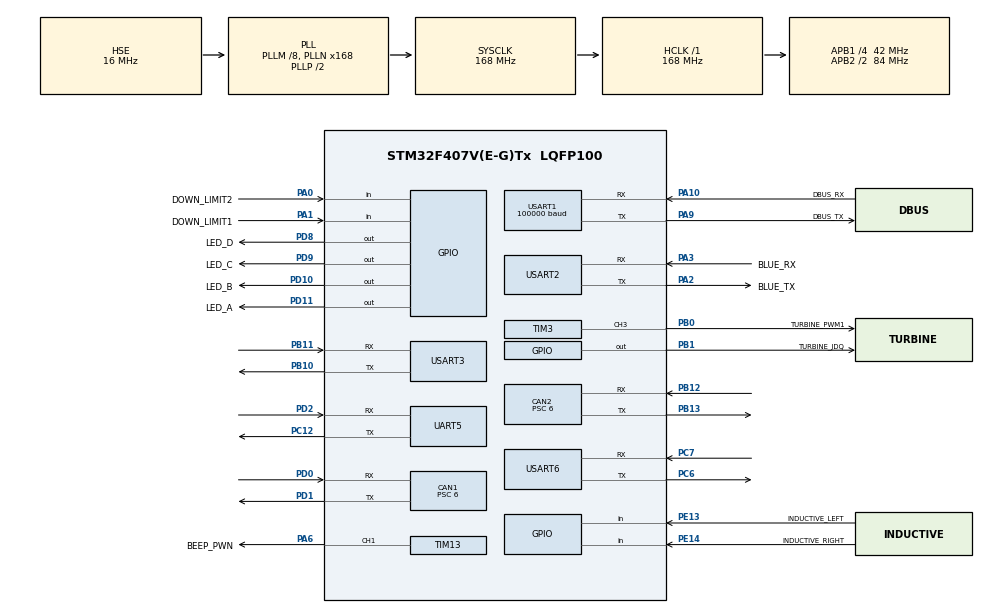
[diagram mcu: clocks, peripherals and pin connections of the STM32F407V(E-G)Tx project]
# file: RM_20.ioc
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CAN1.ABOM=ENABLE
CAN1.BS1=CAN_BS1_3TQ
CAN1.BS2=CAN_BS2_3TQ
CAN1.CalculateTimeQuantum=142.85714285714286
CAN1.Prescaler=6
CAN2.ABOM=ENABLE
CAN2.BS1=CAN_BS1_3TQ
CAN2.BS2=CAN_BS2_3TQ
CAN2.CalculateTimeQuantum=142.85714285714286
CAN2.Prescaler=6
Dma.Request0=USART1_RX
Dma.Request1=USART6_RX
Dma.Request2=USART2_RX
Dma.Request3=UART5_TX
Dma.Request4=UART5_RX
Dma.Request5=USART3_TX
Dma.Request6=USART3_RX
Dma.Request7=USART6_TX
Dma.UART5_RX.4.Direction=DMA_PERIPH_TO_MEMORY
Dma.UART5_RX.4.FIFOMode=DMA_FIFOMODE_DISABLE
Dma.UART5_RX.4.Instance=DMA1_Stream0
Dma.UART5_RX.4.MemDataAlignment=DMA_MDATAALIGN_BYTE
Dma.UART5_RX.4.MemInc=DMA_MINC_ENABLE
Dma.UART5_RX.4.Mode=DMA_NORMAL
Dma.UART5_RX.4.PeriphDataAlignment=DMA_PDATAALIGN_BYTE
Dma.UART5_RX.4.PeriphInc=DMA_PINC_DISABLE
Dma.UART5_RX.4.Priority=DMA_PRIORITY_LOW
Dma.UART5_TX.3.Direction=DMA_MEMORY_TO_PERIPH
Dma.UART5_TX.3.FIFOMode=DMA_FIFOMODE_DISABLE
Dma.UART5_TX.3.Instance=DMA1_Stream7
Dma.UART5_TX.3.MemDataAlignment=DMA_MDATAALIGN_BYTE
Dma.UART5_TX.3.MemInc=DMA_MINC_ENABLE
Dma.UART5_TX.3.Mode=DMA_NORMAL
Dma.UART5_TX.3.PeriphDataAlignment=DMA_PDATAALIGN_BYTE
Dma.UART5_TX.3.PeriphInc=DMA_PINC_DISABLE
Dma.UART5_TX.3.Priority=DMA_PRIORITY_LOW
Dma.USART1_RX.0.Direction=DMA_PERIPH_TO_MEMORY
Dma.USART1_RX.0.FIFOMode=DMA_FIFOMODE_DISABLE
Dma.USART1_RX.0.Instance=DMA2_Stream2
Dma.USART1_RX.0.MemDataAlignment=DMA_MDATAALIGN_BYTE
Dma.USART1_RX.0.MemInc=DMA_MINC_ENABLE
Dma.USART1_RX.0.Mode=DMA_NORMAL
Dma.USART1_RX.0.PeriphDataAlignment=DMA_PDATAALIGN_BYTE
Dma.USART1_RX.0.PeriphInc=DMA_PINC_DISABLE
Dma.USART1_RX.0.Priority=DMA_PRIORITY_LOW
Dma.USART2_RX.2.Direction=DMA_PERIPH_TO_MEMORY
Dma.USART2_RX.2.FIFOMode=DMA_FIFOMODE_DISABLE
Dma.USART2_RX.2.Instance=DMA1_Stream5
Dma.USART2_RX.2.MemDataAlignment=DMA_MDATAALIGN_BYTE
Dma.USART2_RX.2.MemInc=DMA_MINC_ENABLE
Dma.USART2_RX.2.Mode=DMA_NORMAL
Dma.USART2_RX.2.PeriphDataAlignment=DMA_PDATAALIGN_BYTE
Dma.USART2_RX.2.PeriphInc=DMA_PINC_DISABLE
Dma.USART2_RX.2.Priority=DMA_PRIORITY_LOW
Dma.USART3_RX.6.Direction=DMA_PERIPH_TO_MEMORY
Dma.USART3_RX.6.FIFOMode=DMA_FIFOMODE_DISABLE
Dma.USART3_RX.6.Instance=DMA1_Stream1
Dma.USART3_RX.6.MemDataAlignment=DMA_MDATAALIGN_BYTE
Dma.USART3_RX.6.MemInc=DMA_MINC_ENABLE
Dma.USART3_RX.6.Mode=DMA_NORMAL
Dma.USART3_RX.6.PeriphDataAlignment=DMA_PDATAALIGN_BYTE
Dma.USART3_RX.6.PeriphInc=DMA_PINC_DISABLE
Dma.USART3_RX.6.Priority=DMA_PRIORITY_LOW
Dma.USART3_TX.5.Direction=DMA_MEMORY_TO_PERIPH
Dma.USART3_TX.5.FIFOMode=DMA_FIFOMODE_DISABLE
Dma.USART3_TX.5.Instance=DMA1_Stream3
Dma.USART3_TX.5.MemDataAlignment=DMA_MDATAALIGN_BYTE
Dma.USART3_TX.5.MemInc=DMA_MINC_ENABLE
Dma.USART3_TX.5.Mode=DMA_NORMAL
Dma.USART3_TX.5.PeriphDataAlignment=DMA_PDATAALIGN_BYTE
Dma.USART3_TX.5.PeriphInc=DMA_PINC_DISABLE
Dma.USART3_TX.5.Priority=DMA_PRIORITY_LOW
Dma.USART6_RX.1.Direction=DMA_PERIPH_TO_MEMORY
Dma.USART6_RX.1.FIFOMode=DMA_FIFOMODE_DISABLE
Dma.USART6_RX.1.Instance=DMA2_Stream1
Dma.USART6_RX.1.MemDataAlignment=DMA_MDATAALIGN_BYTE
Dma.USART6_RX.1.MemInc=DMA_MINC_ENABLE
Dma.USART6_RX.1.Mode=DMA_NORMAL
Dma.USART6_RX.1.PeriphDataAlignment=DMA_PDATAALIGN_BYTE
Dma.USART6_RX.1.PeriphInc=DMA_PINC_DISABLE
Dma.USART6_RX.1.Priority=DMA_PRIORITY_LOW
Dma.USART6_TX.7.Direction=DMA_MEMORY_TO_PERIPH
Dma.USART6_TX.7.FIFOMode=DMA_FIFOMODE_DISABLE
Dma.USART6_TX.7.Instance=DMA2_Stream6
Dma.USART6_TX.7.MemDataAlignment=DMA_MDATAALIGN_BYTE
Dma.USART6_TX.7.MemInc=DMA_MINC_ENABLE
Dma.USART6_TX.7.Mode=DMA_NORMAL
Dma.USART6_TX.7.PeriphDataAlignment=DMA_PDATAALIGN_BYTE
Dma.USART6_TX.7.PeriphInc=DMA_PINC_DISABLE
Dma.USART6_TX.7.Priority=DMA_PRIORITY_LOW
FREERTOS.INCLUDE_vTaskDelayUntil=1
FREERTOS.Tasks01=defaultTask,0,128,StartDefaultTask,Default,NULL
FREERTOS.configUSE_TIMERS=1
Mcu.Family=STM32F4
Mcu.Name=STM32F407V(E-G)Tx
Mcu.Package=LQFP100
NVIC.CAN1_RX0_IRQn=true\:5\:0\:false\:false\:true\:true\:true\:true
NVIC.CAN1_TX_IRQn=true\:5\:0\:false\:false\:true\:true\:true\:true
NVIC.CAN2_RX0_IRQn=true\:5\:0\:false\:false\:true\:true\:true\:true
NVIC.CAN2_TX_IRQn=true\:5\:0\:false\:false\:true\:true\:true\:true
NVIC.DMA1_Stream0_IRQn=true\:5\:0\:false\:false\:true\:true\:false\:true
NVIC.DMA1_Stream1_IRQn=true\:5\:0\:false\:false\:true\:true\:false\:true
NVIC.DMA1_Stream3_IRQn=true\:5\:0\:false\:false\:true\:true\:false\:true
NVIC.DMA1_Stream5_IRQn=true\:5\:0\:false\:false\:true\:true\:false\:true
NVIC.DMA1_Stream7_IRQn=true\:5\:0\:false\:false\:true\:true\:false\:true
NVIC.DMA2_Stream1_IRQn=true\:5\:0\:false\:false\:true\:true\:false\:true
NVIC.DMA2_Stream2_IRQn=true\:5\:0\:false\:false\:true\:true\:false\:true
NVIC.DMA2_Stream6_IRQn=true\:5\:0\:false\:false\:true\:true\:false\:true
NVIC.PriorityGroup=NVIC_PRIORITYGROUP_4
NVIC.TIM1_UP_TIM10_IRQn=true\:0\:0\:false\:false\:true\:false\:false\:true
NVIC.TimeBase=TIM1_UP_TIM10_IRQn
NVIC.TimeBaseIP=TIM10
NVIC.UART5_IRQn=true\:5\:0\:false\:false\:true\:true\:true\:true
NVIC.USART1_IRQn=true\:5\:0\:false\:false\:true\:true\:true\:true
NVIC.USART2_IRQn=true\:5\:0\:false\:false\:true\:true\:true\:true
NVIC.USART3_IRQn=true\:5\:0\:false\:false\:true\:true\:true\:true
NVIC.USART6_IRQn=true\:5\:0\:false\:false\:true\:true\:true\:true
PA0-WKUP.GPIO_Label=DOWN_LIMIT2
PA0-WKUP.Signal=GPIO_Input
PA1.GPIO_Label=DOWN_LIMIT1
PA1.Signal=GPIO_Input
PA10.GPIO_Label=DBUS_RX
PA10.Mode=Asynchronous
PA10.Signal=USART1_RX
PA13.Mode=Serial_Wire
PA13.Signal=SYS_JTMS-SWDIO
PA14.Mode=Serial_Wire
PA14.Signal=SYS_JTCK-SWCLK
PA2.GPIO_Label=BLUE_TX
PA2.Mode=Asynchronous
PA2.Signal=USART2_TX
PA3.GPIO_Label=BLUE_RX
PA3.Mode=Asynchronous
PA3.Signal=USART2_RX
PA6.GPIO_Label=BEEP_PWN
PA6.Signal=S_TIM13_CH1
PA9.GPIO_Label=DBUS_TX
PA9.Mode=Asynchronous
PA9.Signal=USART1_TX
PB0.GPIO_Label=TURBINE_PWM1
PB0.Signal=S_TIM3_CH3
PB1.GPIO_Label=TURBINE_JDQ
PB1.Signal=GPIO_Output
PB10.Mode=Asynchronous
PB10.Signal=USART3_TX
PB11.Mode=Asynchronous
PB11.Signal=USART3_RX
PB12.Mode=Slave
PB12.Signal=CAN2_RX
PB13.Mode=Slave
PB13.Signal=CAN2_TX
PC12.Mode=Asynchronous
PC12.Signal=UART5_TX
PC6.Mode=Asynchronous
PC6.Signal=USART6_TX
PC7.Mode=Asynchronous
PC7.Signal=USART6_RX
PD0.Mode=Master
PD0.Signal=CAN1_RX
PD1.Mode=Master
PD1.Signal=CAN1_TX
PD10.GPIO_Label=LED_B
PD10.Signal=GPIO_Output
PD11.GPIO_Label=LED_A
PD11.Signal=GPIO_Output
PD2.Mode=Asynchronous
PD2.Signal=UART5_RX
PD8.GPIO_Label=LED_D
PD8.Signal=GPIO_Output
PD9.GPIO_Label=LED_C
PD9.Signal=GPIO_Output
PE13.GPIO_Label=INDUCTIVE_LEFT
PE13.Signal=GPIO_Input
PE14.GPIO_Label=INDUCTIVE_RIGHT
PE14.Signal=GPIO_Input
PH0-OSC_IN.Mode=HSE-External-Oscillator
PH0-OSC_IN.Signal=RCC_OSC_IN
PH1-OSC_OUT.Mode=HSE-External-Oscillator
PH1-OSC_OUT.Signal=RCC_OSC_OUT
ProjectManager.HeapSize=0x1000
ProjectManager.StackSize=0x600
ProjectManager.TargetToolchain=MDK-ARM V5
RCC.48MHZClocksFreq_Value=48000000
RCC.AHBFreq_Value=168000000
RCC.APB1CLKDivider=RCC_HCLK_DIV4
RCC.APB1Freq_Value=42000000
RCC.APB1TimFreq_Value=84000000
RCC.APB2CLKDivider=RCC_HCLK_DIV2
RCC.APB2Freq_Value=84000000
RCC.APB2TimFreq_Value=168000000
RCC.CortexFreq_Value=168000000
RCC.HCLKFreq_Value=168000000
RCC.HSE_VALUE=16000000
RCC.HSI_VALUE=16000000
RCC.LSE_VALUE=32768
RCC.PLLM=8
RCC.PLLN=168
RCC.PLLQ=7
RCC.PLLSourceVirtual=RCC_PLLSOURCE_HSE
RCC.SYSCLKFreq_VALUE=168000000
RCC.SYSCLKSource=RCC_SYSCLKSOURCE_PLLCLK
RCC.VCOOutputFreq_Value=336000000
SH.S_TIM13_CH1.0=TIM13_CH1,PWM Generation1 CH1
SH.S_TIM3_CH3.0=TIM3_CH3,PWM Generation3 CH3
TIM13.Channel=TIM_CHANNEL_1
TIM13.Period=83
TIM13.Prescaler=1999
TIM3.Channel-PWM\ Generation3\ CH3=TIM_CHANNEL_3
TIM3.Period=19999
TIM3.Prescaler=83
UART5.VirtualMode=Asynchronous
USART1.BaudRate=100000
USART1.VirtualMode=VM_ASYNC
USART2.VirtualMode=VM_ASYNC
USART3.VirtualMode=VM_ASYNC
USART6.VirtualMode=VM_ASYNC
VP_FREERTOS_VS_CMSIS_V1.Mode=CMSIS_V1
VP_SYS_VS_tim10.Mode=TIM10
VP_TIM13_VS_ClockSourceINT.Mode=Enable_Timer
board=custom

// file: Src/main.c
/* USER CODE BEGIN Header */
/**
  ******************************************************************************
  * @file           : main.c
  * @brief          : Main program body
  ******************************************************************************
  * @attention
  *
  * <h2><center>&copy; Copyright (c) 2019 STMicroelectronics.
  * All rights reserved.</center></h2>
  *
  * This software component is licensed by ST under Ultimate Liberty license
  * SLA0044, the "License"; You may not use this file except in compliance with
  * the License. You may obtain a copy of the License at:
  *                             www.st.com/SLA0044
  *
  ******************************************************************************
  */
/* USER CODE END Header */

#include "main.h"
#include "cmsis_os.h"
#include "can.h"
#include "dma.h"
#include "tim.h"
#include "usart.h"
#include "gpio.h"

/* USER CODE BEGIN Includes */
#include "bsp_can.h"
#include "bsp_uart.h"
#include "chassis_task.h"
#include "status_task.h"
#include "uplift_task.h"
#include "slip_task.h"

#include "bsp_pump.h"
#include "modeswitch_task.h"
#include "judge.h"

#include "rotate_task.h"
/* USER CODE END Includes */

void SystemClock_Config(void);
void MX_FREERTOS_Init(void);
/* USER CODE BEGIN PFP */
void BSP_init(void);
/* USER CODE END PFP */

int main(void)
{

  /* MCU Configuration--------------------------------------------------------*/

  /* Reset of all peripherals, Initializes the Flash interface and the Systick. */
  HAL_Init();

  /* Configure the system clock */
  SystemClock_Config();

  /* Initialize all configured peripherals */
  MX_GPIO_Init();
  MX_DMA_Init();
  MX_CAN1_Init();
  MX_CAN2_Init();
  MX_TIM3_Init();
  MX_TIM13_Init();
  MX_UART5_Init();
  MX_USART1_UART_Init();
  MX_USART2_UART_Init();
  MX_USART3_UART_Init();
  MX_USART6_UART_Init();
  /* USER CODE BEGIN 2 */
	BSP_init();
  /* USER CODE END 2 */

  /* Call init function for freertos objects (in freertos.c) */
  MX_FREERTOS_Init();

  /* Start scheduler */
  osKernelStart();

  /* We should never get here as control is now taken by the scheduler */

  /* Infinite loop */
  while (1)
  {

  }
}

void SystemClock_Config(void)
{
  RCC_OscInitTypeDef RCC_OscInitStruct = {0};
  RCC_ClkInitTypeDef RCC_ClkInitStruct = {0};

  /** Configure the main internal regulator output voltage
  */
  __HAL_RCC_PWR_CLK_ENABLE();
  __HAL_PWR_VOLTAGESCALING_CONFIG(PWR_REGULATOR_VOLTAGE_SCALE1);
  /** Initializes the CPU, AHB and APB busses clocks
  */
  RCC_OscInitStruct.OscillatorType = RCC_OSCILLATORTYPE_HSE;
  RCC_OscInitStruct.HSEState = RCC_HSE_ON;
  RCC_OscInitStruct.PLL.PLLState = RCC_PLL_ON;
  RCC_OscInitStruct.PLL.PLLSource = RCC_PLLSOURCE_HSE;
  RCC_OscInitStruct.PLL.PLLM = 8;
  RCC_OscInitStruct.PLL.PLLN = 168;
  RCC_OscInitStruct.PLL.PLLP = RCC_PLLP_DIV2;
  RCC_OscInitStruct.PLL.PLLQ = 7;
  if (HAL_RCC_OscConfig(&RCC_OscInitStruct) != HAL_OK)
  {
    Error_Handler();
  }
  /** Initializes the CPU, AHB and APB busses clocks
  */
  RCC_ClkInitStruct.ClockType = RCC_CLOCKTYPE_HCLK|RCC_CLOCKTYPE_SYSCLK
                              |RCC_CLOCKTYPE_PCLK1|RCC_CLOCKTYPE_PCLK2;
  RCC_ClkInitStruct.SYSCLKSource = RCC_SYSCLKSOURCE_PLLCLK;
  RCC_ClkInitStruct.AHBCLKDivider = RCC_SYSCLK_DIV1;
  RCC_ClkInitStruct.APB1CLKDivider = RCC_HCLK_DIV4;
  RCC_ClkInitStruct.APB2CLKDivider = RCC_HCLK_DIV2;

  if (HAL_RCC_ClockConfig(&RCC_ClkInitStruct, FLASH_LATENCY_5) != HAL_OK)
  {
    Error_Handler();
  }
}

/* USER CODE BEGIN 4 */
void BSP_init()
{
	HAL_Delay(2000);

	can_device_init();
	chassis_init();
	uplift_init();
	slip_init();
	uart_init();
	pump_init();
	rotate_init();

	rotate.ctrl_mode= ROTATE_STOP;

}
/* USER CODE END 4 */

void HAL_TIM_PeriodElapsedCallback(TIM_HandleTypeDef *htim)
{
  if (htim->Instance == TIM10) {
    HAL_IncTick();
  }
}

void Error_Handler(void)
{
}

/************************ (C) COPYRIGHT STMicroelectronics *****END OF FILE****/

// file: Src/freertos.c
/* USER CODE BEGIN Header */
/**
  ******************************************************************************
  * File Name          : freertos.c
  * Description        : Code for freertos applications
  ******************************************************************************
  * @attention
  *
  * <h2><center>&copy; Copyright (c) 2019 STMicroelectronics.
  * All rights reserved.</center></h2>
  *
  * This software component is licensed by ST under Ultimate Liberty license
  * SLA0044, the "License"; You may not use this file except in compliance with
  * the License. You may obtain a copy of the License at:
  *                             www.st.com/SLA0044
  *
  ******************************************************************************
  */
/* USER CODE END Header */

#include "FreeRTOS.h"
#include "task.h"
#include "main.h"
#include "cmsis_os.h"

/* USER CODE BEGIN Includes */
#include "stm32f4xx_hal.h"
#include "comm_task.h"
#include "chassis_task.h"
#include "modeswitch_task.h"
#include "debug_task.h"
#include "status_task.h"
#include "uplift_task.h"
#include "slip_task.h"
#include "rotate_task.h"
#include "relay_task.h"
#include "judge.h"
/* USER CODE END Includes */

/* USER CODE BEGIN Variables */
osThreadId can_msg_send_task_t;
osThreadId mode_sw_task_t;
osThreadId debug_task_t;
osThreadId status_task_t;
osThreadId relay_task_t;

osTimerId chassis_timer_id;
osTimerId uplift_timer_id;
osTimerId	slip_timer_id;
osTimerId	rotate_timer_id;

osTimerId judge_sendTimer_id;
/* USER CODE END Variables */
osThreadId defaultTaskHandle;

void StartDefaultTask(void const * argument);

void MX_FREERTOS_Init(void); /* (MISRA C 2004 rule 8.1) */

/* GetIdleTaskMemory prototype (linked to static allocation support) */
void vApplicationGetIdleTaskMemory( StaticTask_t **ppxIdleTaskTCBBuffer, StackType_t **ppxIdleTaskStackBuffer, uint32_t *pulIdleTaskStackSize );

/* GetTimerTaskMemory prototype (linked to static allocation support) */
void vApplicationGetTimerTaskMemory( StaticTask_t **ppxTimerTaskTCBBuffer, StackType_t **ppxTimerTaskStackBuffer, uint32_t *pulTimerTaskStackSize );

/* USER CODE BEGIN GET_IDLE_TASK_MEMORY */
static StaticTask_t xIdleTaskTCBBuffer;
static StackType_t xIdleStack[configMINIMAL_STACK_SIZE];

void vApplicationGetIdleTaskMemory( StaticTask_t **ppxIdleTaskTCBBuffer, StackType_t **ppxIdleTaskStackBuffer, uint32_t *pulIdleTaskStackSize )
{
  *ppxIdleTaskTCBBuffer = &xIdleTaskTCBBuffer;
  *ppxIdleTaskStackBuffer = &xIdleStack[0];
  *pulIdleTaskStackSize = configMINIMAL_STACK_SIZE;
  /* place for user code */
}
/* USER CODE END GET_IDLE_TASK_MEMORY */

/* USER CODE BEGIN GET_TIMER_TASK_MEMORY */
static StaticTask_t xTimerTaskTCBBuffer;
static StackType_t xTimerStack[configTIMER_TASK_STACK_DEPTH];

void vApplicationGetTimerTaskMemory( StaticTask_t **ppxTimerTaskTCBBuffer, StackType_t **ppxTimerTaskStackBuffer, uint32_t *pulTimerTaskStackSize )
{
  *ppxTimerTaskTCBBuffer = &xTimerTaskTCBBuffer;
  *ppxTimerTaskStackBuffer = &xTimerStack[0];
  *pulTimerTaskStackSize = configTIMER_TASK_STACK_DEPTH;
  /* place for user code */
}
/* USER CODE END GET_TIMER_TASK_MEMORY */

void MX_FREERTOS_Init(void) {

  /* USER CODE BEGIN RTOS_TIMERS */
  /* start timers, add new ones, ... */
		taskENTER_CRITICAL();

   osTimerDef(chassisTimer, chassis_task);
  chassis_timer_id = osTimerCreate(osTimer(chassisTimer), osTimerPeriodic, NULL);

   osTimerDef(upliftTimer, uplift_task);
  uplift_timer_id = osTimerCreate(osTimer(upliftTimer), osTimerPeriodic, NULL);

	 osTimerDef(sliptTimer, slip_task);
  slip_timer_id = osTimerCreate(osTimer(sliptTimer), osTimerPeriodic, NULL);

	 osTimerDef(rotateTimer, rotate_task);
  rotate_timer_id = osTimerCreate(osTimer(rotateTimer), osTimerPeriodic, NULL);

	 osTimerDef(judge_sendTimer, judge_send_task);
  judge_sendTimer_id = osTimerCreate(osTimer(judge_sendTimer), osTimerPeriodic, NULL);

  /* USER CODE END RTOS_TIMERS */

  /* Create the thread(s) */
  /* definition and creation of defaultTask */
  osThreadDef(defaultTask, StartDefaultTask, osPriorityNormal, 0, 128);
  defaultTaskHandle = osThreadCreate(osThread(defaultTask), NULL);

  /* USER CODE BEGIN RTOS_THREADS */
  /* add threads, ... */
	/* add threads, ... */
			 /* high priority task */

	 osThreadDef(canTask, can_msg_send_task, osPriorityAboveNormal, 0, 512);
  can_msg_send_task_t = osThreadCreate(osThread(canTask), NULL);

	 osThreadDef(modeTask, mode_switch_task, osPriorityAboveNormal, 0, 512);
	mode_sw_task_t = osThreadCreate(osThread(modeTask), NULL);

	 	 /* low priority task */
	 osThreadDef(relayTask, relay_task, osPriorityNormal, 0, 128);
  relay_task_t = osThreadCreate(osThread(relayTask), NULL);

	 osThreadDef(debugTask, debug_task, osPriorityLow, 0, 256);
	debug_task_t = osThreadCreate(osThread(debugTask), NULL);

	 osThreadDef(statusTask, status_task, osPriorityLow, 0, 512);
	status_task_t = osThreadCreate(osThread(statusTask), NULL);

	 	taskEXIT_CRITICAL();

  /* USER CODE END RTOS_THREADS */

}

void StartDefaultTask(void const * argument)
{

  /* USER CODE BEGIN StartDefaultTask */

	//开启底盘和抬升机构的软件定时器任务

	osTimerStart(chassis_timer_id, CHASSIS_PERIOD);
	osTimerStart(uplift_timer_id, UPLIFT_PERIOD);
	osTimerStart(slip_timer_id, SLIP_PERIOD);
	osTimerStart(rotate_timer_id,ROTATE_PERIOD);
	osTimerStart(judge_sendTimer_id, JUDGE_SEND_PERIOD);

  /* Infinite loop */
	 while(1)
  {
		HAL_GPIO_TogglePin(LED_A_GPIO_Port,LED_A_Pin);
		HAL_GPIO_TogglePin(LED_C_GPIO_Port,LED_C_Pin);
    osDelay(500);
  }
  /* USER CODE END StartDefaultTask */
}

/************************ (C) COPYRIGHT STMicroelectronics *****END OF FILE****/
